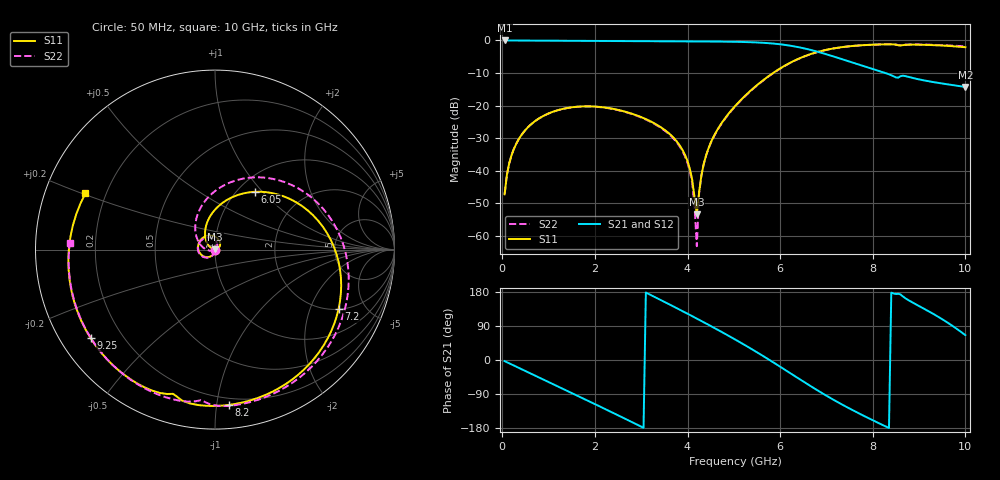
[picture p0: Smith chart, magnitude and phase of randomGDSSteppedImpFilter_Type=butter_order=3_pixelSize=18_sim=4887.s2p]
! freq	dB(S11)	phase(S11)	dB(S12)	phase(S12)
!  dB(S21)	phase(S21)	dB(S22)	phase(S22)
!S-par simulation data
#  GHz  S  DB  R 50
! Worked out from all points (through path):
!   200 points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, 50 MHz to 10 GHz, reference 50 ohm
!   highest |S21| = -0.01 dB at 50 MHz (marker M1); lowest = -14.3 dB at 10 GHz (marker M2)
!   group delay of S21, straight-line fit = 183 ps
!   lowest |S11| = -53.4 dB at 4.2 GHz (marker M3), VSWR 1.00, Z = 50 + j0.214 ohm
!   |S11| at or under -10 dB: start of sweep to 5.848 GHz
!   |S22| runs from -63.2 to -1.2 dB; largest |S21 - S12| = 0
!   S11 on the Smith chart (normalised r, x): 50 MHz: 1.00, -0.01; 6.05 GHz: 1.19, +0.91; 7.2 GHz: 2.00, -3.20; 8.2 GHz: 0.15, -1.08; 9.25 GHz: 0.09, -0.32; 10 GHz: 0.12, +0.20
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0.05  -47.26 -91.9  -0.01 -3.0  -0.01 -3.0  -47.27 -91.7
0.2  -35.25 -101.7  -0.02 -11.7  -0.02 -11.7  -35.25 -100.7
0.5  -27.50 -120.3  -0.04 -29.1  -0.04 -29.1  -27.50 -117.9
1.15  -21.64 -161.0  -0.10 -66.8  -0.10 -66.8  -21.65 -154.9
1.75  -20.26 161.6  -0.16 -101.7  -0.16 -101.7  -20.29 171.9
2.65  -21.87 103.7  -0.21 -154.9  -0.21 -154.9  -21.96 123.0
3.4  -26.44 53.8  -0.25 159.6  -0.25 159.6  -26.65 81.8
4  -37.11 19.0  -0.29 122.1  -0.29 122.1  -37.64 46.8
4.1  -42.75 20.1  -0.30 115.8  -0.30 115.8  -43.78 40.8
4.15  -48.02 32.3  -0.30 112.6  -0.30 112.6  -50.56 38.3
4.2  -53.37 94.4  -0.30 109.3  -0.30 109.3  -63.21 -162.3
4.25  -46.65 149.2  -0.31 106.1  -0.31 106.1  -46.96 -150.0
4.4  -35.32 158.4  -0.32 96.4  -0.32 96.4  -35.41 -159.4
5.05  -19.80 122.8  -0.42 52.6  -0.42 52.6  -19.95 154.9
5.6  -12.58 87.1  -0.70 12.9  -0.70 12.9  -12.69 112.8
6.05  -8.17 55.6  -1.27 -21.6  -1.27 -21.6  -8.24 76.5
6.7  -4.00 8.3  -3.06 -72.1  -3.06 -72.1  -4.03 24.3
7.2  -2.34 -25.8  -5.14 -108.3  -5.14 -108.3  -2.35 -12.4
8.2  -1.22 -84.8  -9.68 -170.8  -9.68 -170.8  -1.21 -73.9
8.35  -1.19 -93.4  -10.40 -179.5  -10.40 -179.5  -1.17 -82.5
9.25  -1.40 -144.5  -12.66 125.7  -12.66 125.7  -1.32 -131.5
10  -2.08 156.6  -14.30 65.5  -14.30 65.5  -1.83 177.5
